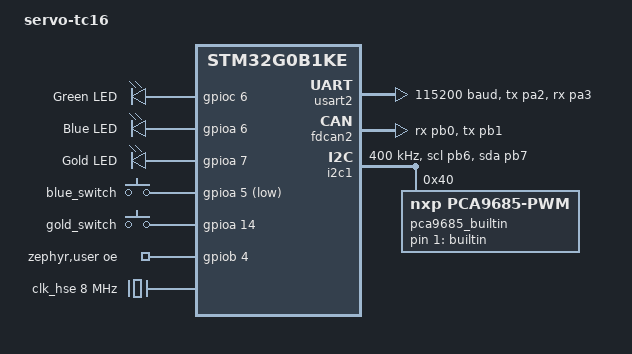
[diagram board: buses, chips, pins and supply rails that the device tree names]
/*
 * Copyright (c) 2024 Robert Middleton
 *
 * SPDX-License-Identifier: Apache-2.0
 */

/dts-v1/;
#include <st/g0/stm32g0b1Xe.dtsi>
#include <st/g0/stm32g0b1k(b-c-e)tx-pinctrl.dtsi>
#include <zephyr/dt-bindings/input/input-event-codes.h>
#include <zephyr/dt-bindings/pinctrl/stm32-pinctrl.h>
#include <zephyr/dt-bindings/pinctrl/stm32-pinctrl-common.h>

/* CPU: STM32G0B1KE
 * FLASH: 512k
 * SRAM: 128(parity-protected)/144(not parity-protected)
 */

/ {
	model = "servo-tc16";
	compatible = "st,stm32g0b1ke-servo-tc16";

	chosen {
		zephyr,console = &usart2;
		zephyr,shell-uart = &usart2;
		zephyr,uart-mcumgr = &usart2;
		zephyr,sram = &sram0;
		zephyr,flash = &flash0;
		zephyr,code-partition = &slot0_partition;
		zephyr,canbus = &fdcan2;
	};

	aliases {
		greenled = &green_led;
		blueled = &blue_led;
		goldled = &gold_led;
		blueswitch = &blue_switch;
	};

	leds: leds {
		compatible = "gpio-leds";
		green_led: led_g {
			gpios = <&gpioc 6 GPIO_ACTIVE_HIGH>;
			label = "Green LED";
		};
		blue_led: led_b {
			gpios = <&gpioa 6 GPIO_ACTIVE_HIGH>;
			label = "Blue LED";
		};
		gold_led: led_gl {
			gpios = <&gpioa 7 GPIO_ACTIVE_HIGH>;
			label = "Gold LED";
		};
	};

	gpio_keys {
		compatible = "gpio-keys";
		blue_switch: button_blue {
			label = "blue_switch";
			gpios = <&gpioa 5 (GPIO_ACTIVE_LOW)>;
		};
		gold_switch: button_gold {
			label = "gold_switch";
			gpios = <&gpioa 14 (GPIO_ACTIVE_HIGH)>;
		};
	};

	zephyr,user {
		oe-gpios = <&gpiob 4 GPIO_ACTIVE_HIGH>;
	};
};

/*
&clk_lsi {
	status = "okay";
};

&clk_hsi {
	status = "okay";
};

&clk_hsi48 {
	status = "okay";
	crs-usb-sof;
};
*/

&clk_hse {
	status = "okay";
	hse-bypass;
	clock-frequency = <DT_FREQ_M(8)>;
};

&pll {
	div-m = <1>;
	mul-n = <16>;
	div-p = <2>;
	div-q = <2>;
	div-r = <4>;
	clocks = <&clk_hse>;
	status = "okay";
};


&rcc {
	clocks = <&pll>;
	clock-frequency = <DT_FREQ_M(32)>;
	ahb-prescaler = <1>;
	apb1-prescaler = <1>;
};


/*
zephyr_udc0: &usb {
	pinctrl-0 = <&usb_dm_pa11 &usb_dp_pa12>;
	pinctrl-names = "default";
	status = "okay";
};
*/

/*
&usart1 {
	pinctrl-0 = <&usart1_tx_pc4 &usart1_rx_pc5>;
	pinctrl-names = "default";
	current-speed = <115200>;
	status = "disabled";
};
*/


/*
&rtc {
	clocks = <&rcc STM32_CLOCK_BUS_APB1 0x00000400>,
		 <&rcc STM32_SRC_LSI RTC_SEL(2)>;
	status = "okay";
};

&iwdg {
	status = "okay";
};
*/

&usart2 {
	pinctrl-0 = <&usart2_tx_pa2 &usart2_rx_pa3>;
	pinctrl-names = "default";
	current-speed = <115200>;
	status = "okay";
};

&flash0 {
	partitions {
		compatible = "fixed-partitions";
		#address-cells = <1>;
		#size-cells = <1>;

		/* We have 512k of flash, so let's not worry too much about space */
		boot_partition: partition@0 {
			label = "bootloader";
			reg = <0x00000000 DT_SIZE_K(48)>;
			read-only;
		};
		slot0_partition: partition@C000 {
			label = "image-0";
			reg = <0x0000C000 DT_SIZE_K(192)>;
		};
		slot1_partition: partition@3C000 {
			label = "image-1";
			reg = <0x0003C000 DT_SIZE_K(192)>;
		};

		/*
		 * 2k reserved for app storage partition.
		 * This is used for configuration data.
		 */
		config_partition: partition@7E000 {
			label = "config";
			reg = <0x0007E000 DT_SIZE_K(2)>;
		};
		/*
		 * 2k for LCC ID data
		 */
		lcc_partition: partition@7F000 {
			label = "lcc-partition";
			reg = <0x0007F000 DT_SIZE_K(2)>;
		};

		global_partition: partition@7F800 {
			label = "global-partition";
			reg = <0x0007F800 DT_SIZE_K(2)>;
		};
	};
};

&fdcan2 {
	clocks = <&rcc STM32_CLOCK_BUS_APB1 0x00001000>,
		 <&rcc STM32_SRC_PLL_Q FDCAN_SEL(1)>;
	pinctrl-0 = <&fdcan2_rx_pb0 &fdcan2_tx_pb1>;
	pinctrl-names = "default";
	status = "okay";
};

&i2c1 {
	status = "okay";
	pinctrl-0 = <&i2c1_scl_pb6 &i2c1_sda_pb7>;
	pinctrl-names = "default";
	status = "okay";
	clock-frequency = <I2C_BITRATE_FAST>;

	pca9685_builtin: pca9685@40 {
		status = "okay";
		compatible = "nxp,pca9685-pwm";
		reg = <0x40>;
		#pwm-cells = <2>;
	};
};

/*
&gpiob {

	oe_pin: oe_pin {
		gpio-hog;
		gpios = <4 GPIO_ACTIVE_HIGH>;
		output-low;
	};
};
*/

/ {
	pwmleds {
		status = "okay";
		compatible = "pwm-leds";

		builtin: node0 {
			pwms = <&pca9685_builtin 1 PWM_MSEC(20) PWM_POLARITY_NORMAL>,
				<&pca9685_builtin 1 PWM_MSEC(20) PWM_POLARITY_NORMAL>,
				<&pca9685_builtin 1 PWM_MSEC(20) PWM_POLARITY_NORMAL>,
				<&pca9685_builtin 1 PWM_MSEC(20) PWM_POLARITY_NORMAL>,
				<&pca9685_builtin 1 PWM_MSEC(20) PWM_POLARITY_NORMAL>,
				<&pca9685_builtin 1 PWM_MSEC(20) PWM_POLARITY_NORMAL>,
				<&pca9685_builtin 1 PWM_MSEC(20) PWM_POLARITY_NORMAL>,
				<&pca9685_builtin 1 PWM_MSEC(20) PWM_POLARITY_NORMAL>,
				<&pca9685_builtin 1 PWM_MSEC(20) PWM_POLARITY_NORMAL>,
				<&pca9685_builtin 1 PWM_MSEC(20) PWM_POLARITY_NORMAL>,
				<&pca9685_builtin 1 PWM_MSEC(20) PWM_POLARITY_NORMAL>,
				<&pca9685_builtin 1 PWM_MSEC(20) PWM_POLARITY_NORMAL>,
				<&pca9685_builtin 1 PWM_MSEC(20) PWM_POLARITY_NORMAL>,
				<&pca9685_builtin 1 PWM_MSEC(20) PWM_POLARITY_NORMAL>,
				<&pca9685_builtin 1 PWM_MSEC(20) PWM_POLARITY_NORMAL>,
				<&pca9685_builtin 1 PWM_MSEC(20) PWM_POLARITY_NORMAL>;
		};
	};
};
